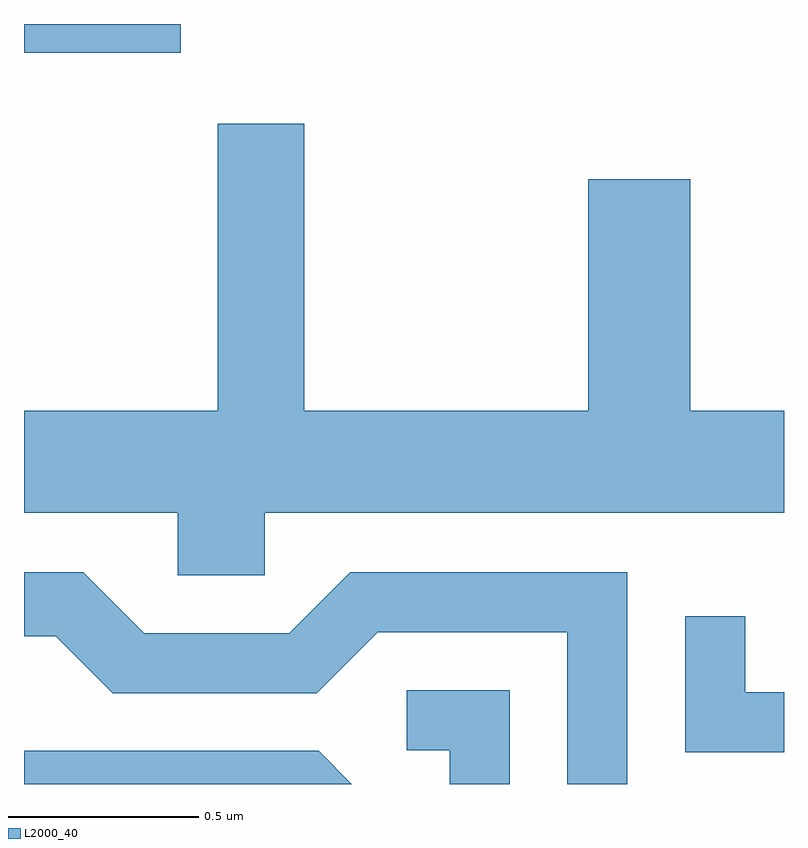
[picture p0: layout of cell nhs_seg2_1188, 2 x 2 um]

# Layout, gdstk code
import gdstk
lib = gdstk.Library(unit=1e-6, precision=1e-09)
def R(c, l, rs):  # rectangles x0, y0, x1, y1
    for r in rs: c.add(gdstk.rectangle(r[:2], r[2:], *l))
def P(c, l, *ps):  # polygons
    for p in ps: c.add(gdstk.Polygon(p, *l))
L2000_40 = (2000, 40)

nhs_seg2_1188 = lib.new_cell('nhs_seg2_1188')
R(nhs_seg2_1188, L2000_40, [(193.611,1071.726,194.024,1071.802)])
P(nhs_seg2_1188, L2000_40, [(194.244,1070.516),(195.611,1070.516),(195.611,1070.784),(195.364,1070.784),(195.364,1071.394),(195.096,1071.394),(195.096,1070.784),(194.349,1070.784),(194.349,1071.539),(194.121,1071.539),(194.121,1070.784),(193.611,1070.784),(193.611,1070.516),(194.016,1070.516),(194.016,1070.351),(194.244,1070.351)],
  [(195.199,1070.359),(194.469,1070.359),(194.309,1070.199),(193.927,1070.199),(193.767,1070.359),(193.611,1070.359),(193.611,1070.191),(193.694,1070.191),(193.844,1070.041),(194.382,1070.041),(194.542,1070.201),(195.041,1070.201),(195.041,1069.802),(195.199,1069.802)],
  [(195.611,1070.044),(195.509,1070.044),(195.509,1070.243),(195.351,1070.243),(195.351,1069.886),(195.611,1069.886)],
  [(194.889,1070.049),(194.618,1070.049),(194.618,1069.891),(194.731,1069.891),(194.731,1069.802),(194.889,1069.802)],
  [(194.387,1069.889),(193.611,1069.889),(193.611,1069.802),(194.474,1069.802)])

lib.write_gds('nhs_seg2_1188.gds')
